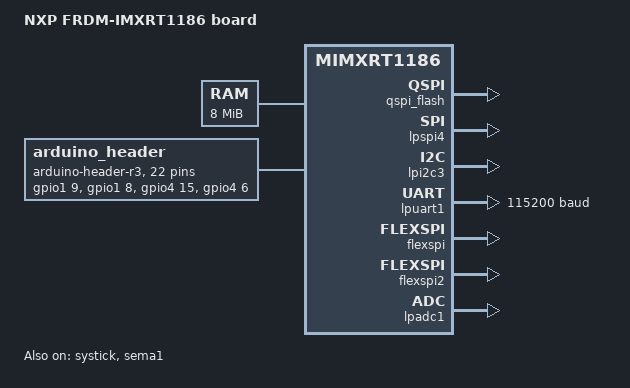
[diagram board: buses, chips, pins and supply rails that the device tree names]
/*
 * Copyright 2026 NXP
 *
 * SPDX-License-Identifier: Apache-2.0
 */

/dts-v1/;

#include <nxp/imxrt/nxp_rt118x_cm33.dtsi>
#include <nxp/imxrt/nxp_rt1186.dtsi>
#include "frdm_imxrt1186.dtsi"
#include <freq.h>
#include <zephyr/dt-bindings/gpio/arduino-header-r3.h>


/ {
	model = "NXP FRDM-IMXRT1186 board";
	compatible = "nxp,mimxrt1186";

	chosen {
		zephyr,sram = &hyperram0;
		zephyr,dtcm = &dtcm;
		zephyr,itcm = &itcm;
		zephyr,flash-controller = &ext_flash_ctrl;
		zephyr,flash = &w25q128jv;
		zephyr,code-partition = &slot0_partition;
		zephyr,code-m7-partition = &slot1_partition;
		zephyr,console = &lpuart1;
		zephyr,shell-uart = &lpuart1;
	};

	hyperram0: memory@38000000 {
		/* Winbond W957A8MFYA5K */
		device_type = "memory";
		reg = <0x38000000 DT_SIZE_M(8)>;
		zephyr,memory-attr = <DT_MEM_ARM(ATTR_MPU_RAM)>;
		/*
		 * HyperRAM on FRDM-IMXRT1186 is initialized by ROM bootloader
		 * reading the XMCD configuration from xip/frdmimxrt1186_flexspi_nor_config.c
		 */
		status = "okay";
	};

	qspi_flash: memory@14000000 {
		device_type = "memory";
		reg = <0x14000000 DT_SIZE_M(16)>;
		zephyr,memory-attr = <DT_MEM_ARM(ATTR_MPU_FLASH)>;
		status = "okay";
	};


	arduino_header: connector {
		compatible = "arduino-header-r3";
		#gpio-cells = <2>;
		gpio-map-mask = <0xffffffff 0xffffffc0>;
		gpio-map-pass-thru = <0 0x3f>;
		gpio-map = <ARDUINO_HEADER_R3_D0 0 &gpio1 9 0>,
				<ARDUINO_HEADER_R3_D1 0 &gpio1 8 0>,
				<ARDUINO_HEADER_R3_D2 0 &gpio4 15 0>,
				<ARDUINO_HEADER_R3_D3 0 &gpio4 6 0>,
				<ARDUINO_HEADER_R3_D4 0 &gpio4 12 0>,
				<ARDUINO_HEADER_R3_D5 0 &gpio4 13 0>,
				<ARDUINO_HEADER_R3_D6 0 &gpio4 7 0>,
				<ARDUINO_HEADER_R3_D7 0 &gpio4 8 0>,
				<ARDUINO_HEADER_R3_D8 0 &gpio4 3 0>,
				<ARDUINO_HEADER_R3_D9 0 &gpio2 16 0>,
				<ARDUINO_HEADER_R3_D10 0 &gpio2 25 0>,    /* GPIO_EMC_B1_25 - SPI CS */
				<ARDUINO_HEADER_R3_D11 0 &gpio2 24 0>,    /* GPIO_EMC_B1_24 - SPI MOSI */
				<ARDUINO_HEADER_R3_D12 0 &gpio2 23 0>,    /* GPIO_EMC_B1_23 - SPI MISO */
				<ARDUINO_HEADER_R3_D13 0 &gpio2 22 0>,    /* GPIO_EMC_B1_22 - SPI SCK */
				<ARDUINO_HEADER_R3_D14 0 &gpio3 29 0>,
				<ARDUINO_HEADER_R3_D15 0 &gpio3 30 0>,
				<ARDUINO_HEADER_R3_A0 0 &gpio4 10 0>,
				<ARDUINO_HEADER_R3_A1 0 &gpio4 11 0>,
				<ARDUINO_HEADER_R3_A2 0 &gpio4 4 0>,
				<ARDUINO_HEADER_R3_A3 0 &gpio4 5 0>,
				<ARDUINO_HEADER_R3_A4 0 &gpio4 17 0>,
				<ARDUINO_HEADER_R3_A5 0 &gpio4 16 0>;
	};
};


arduino_spi: &lpspi4 {
	status = "okay";
};
arduino_i2c: &lpi2c3 {
	status = "okay";
};
&cpu0 {
	clock-frequency = <DT_FREQ_M(240)>;
};

&lpuart1 {
	status = "okay";
	current-speed = <115200>;
};

&flexspi {
	status = "okay";
};

&flexspi2 {
	status = "okay";
};

&systick {
	status = "okay";
};

&lpadc1 {
	status = "okay";
};

&sema1 {
	domain-id = <8>;
	status = "okay";
};
 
